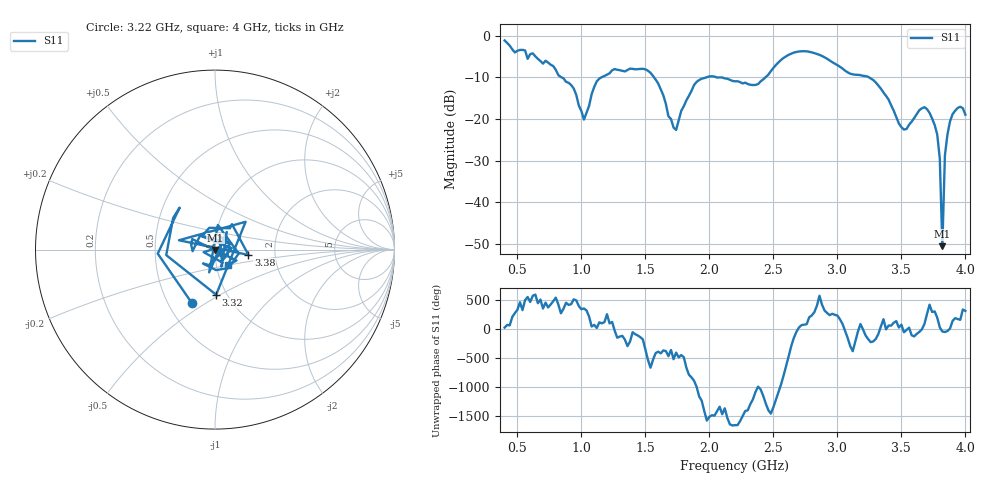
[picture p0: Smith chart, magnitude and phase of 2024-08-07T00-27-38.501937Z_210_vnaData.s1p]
!Created with skrf (http://scikit-rf.org).
# Hz S RI R 50.0
!freq ReS11 ImS11
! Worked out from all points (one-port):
!   181 points, 400 MHz to 4 GHz, reference 50 ohm
!   lowest |S11| = -50.5 dB at 3.82 GHz (marker M1), VSWR 1.01, Z = 50.2 - j0.215 ohm
!   |S11| at or under -10 dB: 1.567 GHz to 1.979 GHz (412.8 MHz wide, 23.3 % of centre); 2.053 GHz to 2.439 GHz (385.9 MHz wide, 17.2 % of centre); 3.245 GHz to end of sweep (the widest 3 of 4)
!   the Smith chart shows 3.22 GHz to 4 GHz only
!   S11 on the Smith chart (normalised r, x): 3.22 GHz: 0.66, -0.44; 3.32 GHz: 0.89, -0.48; 3.38 GHz: 1.46, -0.09; 4 GHz: 1.13, -0.20
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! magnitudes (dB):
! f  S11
! 400 MHz  -1.2
! 860 MHz  -10.3
! 940 MHz  -12.7
! 1.02 GHz  -20.2
! 1.12 GHz  -11.0
! 1.3 GHz  -8.3
! 1.54 GHz  -8.9
! 1.64 GHz  -14.3
! 1.72 GHz  -22.1
! 1.76 GHz  -20.3
! 1.92 GHz  -10.7
! 2.2 GHz  -11.0
! 2.38 GHz  -11.7
! 2.66 GHz  -4.1
! 3.1 GHz  -9.2
! 3.22 GHz  -9.7
! 3.32 GHz  -12.0
! 3.38 GHz  -14.5
! 3.5 GHz  -22.0
! 3.56 GHz  -21.4
! 3.68 GHz  -17.2
! 3.76 GHz  -21.5
! 3.8 GHz  -29.5
! 3.82 GHz  -50.5
! 3.84 GHz  -28.7
! 3.86 GHz  -23.7
! 3.92 GHz  -18.0
! 4 GHz  -19.0
